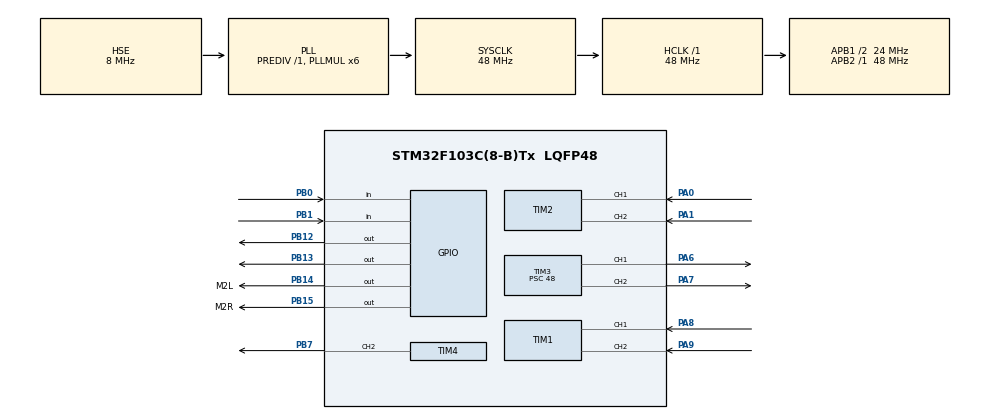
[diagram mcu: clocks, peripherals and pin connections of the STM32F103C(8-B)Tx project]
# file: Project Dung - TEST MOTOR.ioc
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Mcu.Family=STM32F1
Mcu.Name=STM32F103C(8-B)Tx
Mcu.Package=LQFP48
NVIC.PriorityGroup=NVIC_PRIORITYGROUP_4
PA0-WKUP.Signal=S_TIM2_CH1_ETR
PA1.Signal=S_TIM2_CH2
PA6.Signal=S_TIM3_CH1
PA7.Signal=S_TIM3_CH2
PA8.Signal=S_TIM1_CH1
PA9.Signal=S_TIM1_CH2
PB0.GPIO_PuPd=GPIO_PULLUP
PB0.Signal=GPIO_Input
PB1.GPIO_PuPd=GPIO_PULLUP
PB1.Signal=GPIO_Input
PB12.Signal=GPIO_Output
PB13.Signal=GPIO_Output
PB14.GPIO_Label=M2L
PB14.Signal=GPIO_Output
PB15.GPIO_Label=M2R
PB15.Signal=GPIO_Output
PB7.Signal=S_TIM4_CH2
PD0-OSC_IN.Mode=HSE-External-Oscillator
PD0-OSC_IN.Signal=RCC_OSC_IN
PD1-OSC_OUT.Mode=HSE-External-Oscillator
PD1-OSC_OUT.Signal=RCC_OSC_OUT
ProjectManager.HeapSize=0x200
ProjectManager.StackSize=0x400
ProjectManager.TargetToolchain=STM32CubeIDE
RCC.AHBFreq_Value=48000000
RCC.APB1CLKDivider=RCC_HCLK_DIV2
RCC.APB1Freq_Value=24000000
RCC.APB1TimFreq_Value=48000000
RCC.APB2Freq_Value=48000000
RCC.APB2TimFreq_Value=48000000
RCC.HCLKFreq_Value=48000000
RCC.PLLMUL=RCC_PLL_MUL6
RCC.PLLSourceVirtual=RCC_PLLSOURCE_HSE
RCC.SYSCLKFreq_VALUE=48000000
RCC.SYSCLKSource=RCC_SYSCLKSOURCE_PLLCLK
RCC.USBFreq_Value=48000000
SH.S_TIM1_CH1.0=TIM1_CH1,Encoder_Interface
SH.S_TIM1_CH2.0=TIM1_CH2,Encoder_Interface
SH.S_TIM2_CH1_ETR.0=TIM2_CH1,Encoder_Interface
SH.S_TIM2_CH2.0=TIM2_CH2,Encoder_Interface
SH.S_TIM3_CH1.0=TIM3_CH1,PWM Generation1 CH1
SH.S_TIM3_CH2.0=TIM3_CH2,PWM Generation2 CH2
SH.S_TIM4_CH2.0=TIM4_CH2,PWM Generation2 CH2
TIM1.EncoderMode=TIM_ENCODERMODE_TI12
TIM2.EncoderMode=TIM_ENCODERMODE_TI1
TIM3.Channel-PWM\ Generation1\ CH1=TIM_CHANNEL_1
TIM3.Channel-PWM\ Generation2\ CH2=TIM_CHANNEL_2
TIM3.Period=499
TIM3.Prescaler=48
TIM4.Channel-PWM\ Generation2\ CH2=TIM_CHANNEL_2
TIM4.Period=999
TIM4.Prescaler=48
board=custom

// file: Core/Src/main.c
/* USER CODE BEGIN Header */
/**
 ******************************************************************************
 * @file           : main.c
 * @brief          : Main program body
 ******************************************************************************
 * @attention
 *
 * Copyright (c) 2022 STMicroelectronics.
 * All rights reserved.
 *
 * This software is licensed under terms that can be found in the LICENSE file
 * in the root directory of this software component.
 * If no LICENSE file comes with this software, it is provided AS-IS.
 *
 ******************************************************************************
 */
/* USER CODE END Header */
#include "main.h"

TIM_HandleTypeDef htim1;
TIM_HandleTypeDef htim2;
TIM_HandleTypeDef htim3;
TIM_HandleTypeDef htim4;

void SystemClock_Config(void);
static void MX_GPIO_Init(void);
static void MX_TIM1_Init(void);
static void MX_TIM2_Init(void);
static void MX_TIM3_Init(void);
static void MX_TIM4_Init(void);

/* USER CODE BEGIN 0 */
uint32_t now_E2 = 0;
/* USER CODE END 0 */

int main(void)
{

  /* MCU Configuration--------------------------------------------------------*/

  /* Reset of all peripherals, Initializes the Flash interface and the Systick. */
  HAL_Init();

  /* Configure the system clock */
  SystemClock_Config();

  /* Initialize all configured peripherals */
  MX_GPIO_Init();
  MX_TIM1_Init();
  MX_TIM2_Init();
  MX_TIM3_Init();
  MX_TIM4_Init();
  /* USER CODE BEGIN 2 */
  HAL_TIM_Encoder_Start(&htim1, TIM_CHANNEL_ALL);
  HAL_TIM_Encoder_Start(&htim2, TIM_CHANNEL_ALL);

  HAL_TIM_PWM_Start(&htim3, TIM_CHANNEL_1);
  HAL_TIM_PWM_Start(&htim3, TIM_CHANNEL_2);
  HAL_TIM_PWM_Start(&htim4, TIM_CHANNEL_2);

  /* USER CODE END 2 */

  /* Infinite loop */
  while (1) {

    /* USER CODE BEGIN 3 */
	if (HAL_GPIO_ReadPin(GPIOB, GPIO_PIN_0) == GPIO_PIN_RESET) {
	  TIM4->CCR2 = 300;
	  HAL_GPIO_WritePin(M2L_GPIO_Port, M2L_Pin, GPIO_PIN_SET);
	  HAL_GPIO_WritePin(M2R_GPIO_Port, M2R_Pin, GPIO_PIN_RESET);
	} else if (HAL_GPIO_ReadPin(GPIOB, GPIO_PIN_1) == GPIO_PIN_RESET) {
	  TIM4->CCR2 = 300;
	  HAL_GPIO_WritePin(M2L_GPIO_Port, M2L_Pin, GPIO_PIN_RESET);
	  HAL_GPIO_WritePin(M2R_GPIO_Port, M2R_Pin, GPIO_PIN_SET);
	} else
	  TIM4->CCR2 = 0;

	now_E2 = TIM1->CNT;
  }
  /* USER CODE END 3 */
}

void SystemClock_Config(void)
{
  RCC_OscInitTypeDef RCC_OscInitStruct = {0};
  RCC_ClkInitTypeDef RCC_ClkInitStruct = {0};

  /** Initializes the RCC Oscillators according to the specified parameters
  * in the RCC_OscInitTypeDef structure.
  */
  RCC_OscInitStruct.OscillatorType = RCC_OSCILLATORTYPE_HSE;
  RCC_OscInitStruct.HSEState = RCC_HSE_ON;
  RCC_OscInitStruct.HSEPredivValue = RCC_HSE_PREDIV_DIV1;
  RCC_OscInitStruct.HSIState = RCC_HSI_ON;
  RCC_OscInitStruct.PLL.PLLState = RCC_PLL_ON;
  RCC_OscInitStruct.PLL.PLLSource = RCC_PLLSOURCE_HSE;
  RCC_OscInitStruct.PLL.PLLMUL = RCC_PLL_MUL6;
  if (HAL_RCC_OscConfig(&RCC_OscInitStruct) != HAL_OK)
  {
    Error_Handler();
  }

  /** Initializes the CPU, AHB and APB buses clocks
  */
  RCC_ClkInitStruct.ClockType = RCC_CLOCKTYPE_HCLK|RCC_CLOCKTYPE_SYSCLK
                              |RCC_CLOCKTYPE_PCLK1|RCC_CLOCKTYPE_PCLK2;
  RCC_ClkInitStruct.SYSCLKSource = RCC_SYSCLKSOURCE_PLLCLK;
  RCC_ClkInitStruct.AHBCLKDivider = RCC_SYSCLK_DIV1;
  RCC_ClkInitStruct.APB1CLKDivider = RCC_HCLK_DIV2;
  RCC_ClkInitStruct.APB2CLKDivider = RCC_HCLK_DIV1;

  if (HAL_RCC_ClockConfig(&RCC_ClkInitStruct, FLASH_LATENCY_1) != HAL_OK)
  {
    Error_Handler();
  }
}

static void MX_TIM1_Init(void)
{

  TIM_Encoder_InitTypeDef sConfig = {0};
  TIM_MasterConfigTypeDef sMasterConfig = {0};

  htim1.Instance = TIM1;
  htim1.Init.Prescaler = 0;
  htim1.Init.CounterMode = TIM_COUNTERMODE_UP;
  htim1.Init.Period = 65535;
  htim1.Init.ClockDivision = TIM_CLOCKDIVISION_DIV1;
  htim1.Init.RepetitionCounter = 0;
  htim1.Init.AutoReloadPreload = TIM_AUTORELOAD_PRELOAD_DISABLE;
  sConfig.EncoderMode = TIM_ENCODERMODE_TI12;
  sConfig.IC1Polarity = TIM_ICPOLARITY_RISING;
  sConfig.IC1Selection = TIM_ICSELECTION_DIRECTTI;
  sConfig.IC1Prescaler = TIM_ICPSC_DIV1;
  sConfig.IC1Filter = 0;
  sConfig.IC2Polarity = TIM_ICPOLARITY_RISING;
  sConfig.IC2Selection = TIM_ICSELECTION_DIRECTTI;
  sConfig.IC2Prescaler = TIM_ICPSC_DIV1;
  sConfig.IC2Filter = 0;
  if (HAL_TIM_Encoder_Init(&htim1, &sConfig) != HAL_OK)
  {
    Error_Handler();
  }
  sMasterConfig.MasterOutputTrigger = TIM_TRGO_RESET;
  sMasterConfig.MasterSlaveMode = TIM_MASTERSLAVEMODE_DISABLE;
  if (HAL_TIMEx_MasterConfigSynchronization(&htim1, &sMasterConfig) != HAL_OK)
  {
    Error_Handler();
  }

}

static void MX_TIM2_Init(void)
{

  TIM_Encoder_InitTypeDef sConfig = {0};
  TIM_MasterConfigTypeDef sMasterConfig = {0};

  htim2.Instance = TIM2;
  htim2.Init.Prescaler = 0;
  htim2.Init.CounterMode = TIM_COUNTERMODE_UP;
  htim2.Init.Period = 65535;
  htim2.Init.ClockDivision = TIM_CLOCKDIVISION_DIV1;
  htim2.Init.AutoReloadPreload = TIM_AUTORELOAD_PRELOAD_DISABLE;
  sConfig.EncoderMode = TIM_ENCODERMODE_TI1;
  sConfig.IC1Polarity = TIM_ICPOLARITY_RISING;
  sConfig.IC1Selection = TIM_ICSELECTION_DIRECTTI;
  sConfig.IC1Prescaler = TIM_ICPSC_DIV1;
  sConfig.IC1Filter = 0;
  sConfig.IC2Polarity = TIM_ICPOLARITY_RISING;
  sConfig.IC2Selection = TIM_ICSELECTION_DIRECTTI;
  sConfig.IC2Prescaler = TIM_ICPSC_DIV1;
  sConfig.IC2Filter = 0;
  if (HAL_TIM_Encoder_Init(&htim2, &sConfig) != HAL_OK)
  {
    Error_Handler();
  }
  sMasterConfig.MasterOutputTrigger = TIM_TRGO_RESET;
  sMasterConfig.MasterSlaveMode = TIM_MASTERSLAVEMODE_DISABLE;
  if (HAL_TIMEx_MasterConfigSynchronization(&htim2, &sMasterConfig) != HAL_OK)
  {
    Error_Handler();
  }

}

static void MX_TIM3_Init(void)
{

  TIM_MasterConfigTypeDef sMasterConfig = {0};
  TIM_OC_InitTypeDef sConfigOC = {0};

  htim3.Instance = TIM3;
  htim3.Init.Prescaler = 48;
  htim3.Init.CounterMode = TIM_COUNTERMODE_UP;
  htim3.Init.Period = 499;
  htim3.Init.ClockDivision = TIM_CLOCKDIVISION_DIV1;
  htim3.Init.AutoReloadPreload = TIM_AUTORELOAD_PRELOAD_DISABLE;
  if (HAL_TIM_PWM_Init(&htim3) != HAL_OK)
  {
    Error_Handler();
  }
  sMasterConfig.MasterOutputTrigger = TIM_TRGO_RESET;
  sMasterConfig.MasterSlaveMode = TIM_MASTERSLAVEMODE_DISABLE;
  if (HAL_TIMEx_MasterConfigSynchronization(&htim3, &sMasterConfig) != HAL_OK)
  {
    Error_Handler();
  }
  sConfigOC.OCMode = TIM_OCMODE_PWM1;
  sConfigOC.Pulse = 0;
  sConfigOC.OCPolarity = TIM_OCPOLARITY_HIGH;
  sConfigOC.OCFastMode = TIM_OCFAST_DISABLE;
  if (HAL_TIM_PWM_ConfigChannel(&htim3, &sConfigOC, TIM_CHANNEL_1) != HAL_OK)
  {
    Error_Handler();
  }
  if (HAL_TIM_PWM_ConfigChannel(&htim3, &sConfigOC, TIM_CHANNEL_2) != HAL_OK)
  {
    Error_Handler();
  }
  HAL_TIM_MspPostInit(&htim3);

}

static void MX_TIM4_Init(void)
{

  TIM_MasterConfigTypeDef sMasterConfig = {0};
  TIM_OC_InitTypeDef sConfigOC = {0};

  htim4.Instance = TIM4;
  htim4.Init.Prescaler = 48;
  htim4.Init.CounterMode = TIM_COUNTERMODE_UP;
  htim4.Init.Period = 999;
  htim4.Init.ClockDivision = TIM_CLOCKDIVISION_DIV1;
  htim4.Init.AutoReloadPreload = TIM_AUTORELOAD_PRELOAD_DISABLE;
  if (HAL_TIM_PWM_Init(&htim4) != HAL_OK)
  {
    Error_Handler();
  }
  sMasterConfig.MasterOutputTrigger = TIM_TRGO_RESET;
  sMasterConfig.MasterSlaveMode = TIM_MASTERSLAVEMODE_DISABLE;
  if (HAL_TIMEx_MasterConfigSynchronization(&htim4, &sMasterConfig) != HAL_OK)
  {
    Error_Handler();
  }
  sConfigOC.OCMode = TIM_OCMODE_PWM1;
  sConfigOC.Pulse = 0;
  sConfigOC.OCPolarity = TIM_OCPOLARITY_HIGH;
  sConfigOC.OCFastMode = TIM_OCFAST_DISABLE;
  if (HAL_TIM_PWM_ConfigChannel(&htim4, &sConfigOC, TIM_CHANNEL_2) != HAL_OK)
  {
    Error_Handler();
  }
  HAL_TIM_MspPostInit(&htim4);

}

static void MX_GPIO_Init(void)
{
  GPIO_InitTypeDef GPIO_InitStruct = {0};

  /* GPIO Ports Clock Enable */
  __HAL_RCC_GPIOD_CLK_ENABLE();
  __HAL_RCC_GPIOA_CLK_ENABLE();
  __HAL_RCC_GPIOB_CLK_ENABLE();

  /*Configure GPIO pin Output Level */
  HAL_GPIO_WritePin(GPIOB, GPIO_PIN_12|GPIO_PIN_13|M2L_Pin|M2R_Pin, GPIO_PIN_RESET);

  /*Configure GPIO pins : PB0 PB1 */
  GPIO_InitStruct.Pin = GPIO_PIN_0|GPIO_PIN_1;
  GPIO_InitStruct.Mode = GPIO_MODE_INPUT;
  GPIO_InitStruct.Pull = GPIO_PULLUP;
  HAL_GPIO_Init(GPIOB, &GPIO_InitStruct);

  /*Configure GPIO pins : PB12 PB13 M2L_Pin M2R_Pin */
  GPIO_InitStruct.Pin = GPIO_PIN_12|GPIO_PIN_13|M2L_Pin|M2R_Pin;
  GPIO_InitStruct.Mode = GPIO_MODE_OUTPUT_PP;
  GPIO_InitStruct.Pull = GPIO_NOPULL;
  GPIO_InitStruct.Speed = GPIO_SPEED_FREQ_LOW;
  HAL_GPIO_Init(GPIOB, &GPIO_InitStruct);

}

void Error_Handler(void)
{
  __disable_irq();
  while (1) {
  }
}
